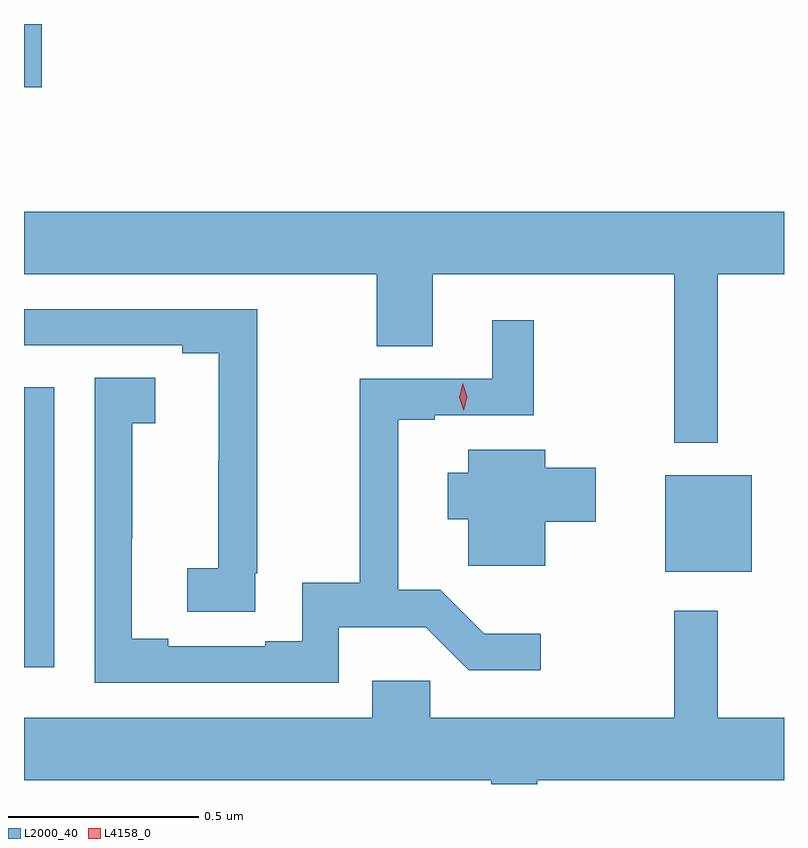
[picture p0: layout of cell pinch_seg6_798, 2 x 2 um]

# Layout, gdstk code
import gdstk
lib = gdstk.Library(unit=1e-6, precision=1e-09)
def R(c, l, rs):  # rectangles x0, y0, x1, y1
    for r in rs: c.add(gdstk.rectangle(r[:2], r[2:], *l))
def P(c, l, *ps):  # polygons
    for p in ps: c.add(gdstk.Polygon(p, *l))
L2000_40 = (2000, 40)
L4158_0 = (4158, 0)

pinch_seg6_798 = lib.new_cell('pinch_seg6_798')
R(pinch_seg6_798, L2000_40, [(327.288,982.265,327.367,983.002), (328.976,982.517,329.203,982.771), (327.288,983.792,327.335,983.958)])
P(pinch_seg6_798, L2000_40, [(329.113,983.3),(329.288,983.3),(329.288,983.464),(327.288,983.464),(327.288,983.3),(328.216,983.3),(328.216,983.11),(328.363,983.11),(328.363,983.3),(328.999,983.3),(328.999,982.856),(329.113,982.856)],
  [(327.896,982.513),(327.902,982.513),(327.902,983.208),(327.288,983.208),(327.288,983.112),(327.704,983.112),(327.704,983.092),(327.8,983.092),(327.8,982.809),(327.799,982.809),(327.799,982.526),(327.717,982.526),(327.717,982.411),(327.896,982.411)],
  [(328.116,982.37),(328.345,982.37),(328.458,982.257),(328.648,982.257),(328.648,982.354),(328.499,982.354),(328.384,982.469),(328.273,982.469),(328.273,982.917),(328.369,982.917),(328.369,982.929),(328.63,982.929),(328.63,983.179),(328.52,983.179),(328.52,983.025),(328.171,983.025),(328.171,982.487),(328.02,982.487),(328.02,982.334),(327.923,982.334),(327.923,982.32),(327.667,982.32),(327.667,982.34),(327.571,982.34),(327.571,982.603),(327.573,982.603),(327.573,982.907),(327.634,982.907),(327.634,983.027),(327.474,983.027),(327.474,982.224),(328.116,982.224)],
  [(328.66,982.648),(328.792,982.648),(328.792,982.79),(328.66,982.79),(328.66,982.837),(328.457,982.837),(328.457,982.777),(328.403,982.777),(328.403,982.655),(328.457,982.655),(328.457,982.532),(328.66,982.532)],
  [(328.639,981.968),(329.288,981.968),(329.288,982.132),(329.113,982.132),(329.113,982.414),(328.999,982.414),(328.999,982.132),(328.357,982.132),(328.357,982.23),(328.205,982.23),(328.205,982.132),(327.288,982.132),(327.288,981.968),(328.517,981.968),(328.517,981.958),(328.639,981.958)])
P(pinch_seg6_798, L4158_0, [(328.445,982.94),(328.445,982.94),(328.434,982.976),(328.442,983.012),(328.442,983.012),(328.442,983.012),(328.454,982.977),(328.445,982.94)])

lib.write_gds('pinch_seg6_798.gds')
